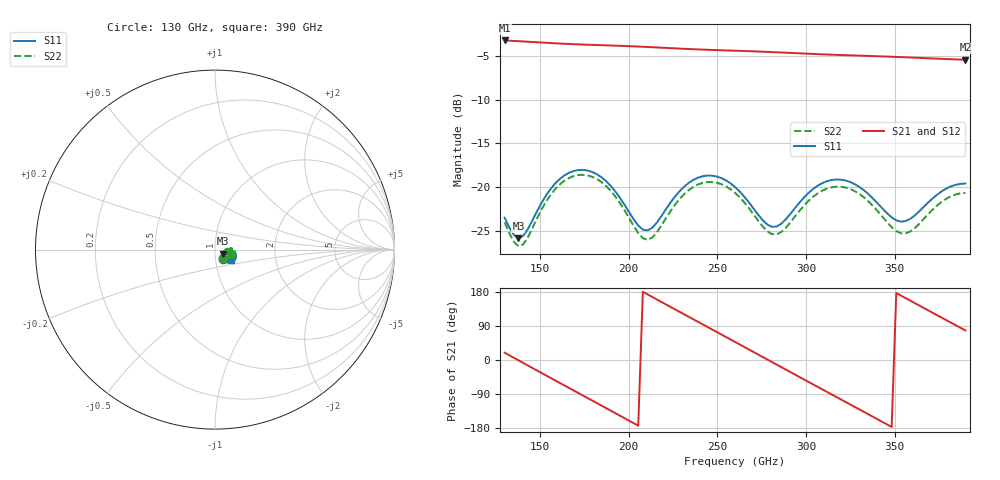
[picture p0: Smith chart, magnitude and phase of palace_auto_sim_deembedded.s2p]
! Created with skrf 1.11.0 (http://scikit-rf.org).
# GHz S DB R 50.0
!freq dBS11 angS11 dBS21 angS21 dBS12 angS12 dBS22 angS22
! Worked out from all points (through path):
!   101 points, 130 GHz to 390 GHz, reference 50 ohm
!   highest |S21| = -3.24 dB at 130 GHz (marker M1); lowest = -5.4 dB at 390 GHz (marker M2)
!   group delay of S21, straight-line fit = 7.06 ps
!   lowest |S11| = -25.9 dB at 137.8 GHz (marker M3), VSWR 1.11, Z = 54.7 - j2.5 ohm
!   |S11| at or under -10 dB: start of sweep to end of sweep
!   |S22| runs from -26.8 to -18.6 dB; largest |S21 - S12| = 1e-14
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130  -23.52 -49.2  -3.24 19.3  -3.24 19.3  -24.05 -46.5
137.8  -25.85 -26.5  -3.32 -0.8  -3.32 -0.8  -26.77 -22.9
148.2  -22.81 -0.5  -3.44 -27.5  -3.44 -27.5  -23.63 6.5
158.6  -19.59 -4.7  -3.56 -54.0  -3.56 -54.0  -20.23 2.9
174.2  -18.04 -25.6  -3.70 -93.7  -3.70 -93.7  -18.61 -17.8
184.6  -18.88 -39.8  -3.78 -120.2  -3.78 -120.2  -19.43 -32.0
197.6  -22.02 -48.3  -3.87 -153.4  -3.87 -153.4  -22.64 -41.1
208  -24.87 -32.8  -3.96 180.0  -3.96 180.0  -25.85 -25.5
218.4  -23.35 -9.5  -4.06 153.4  -4.06 153.4  -24.43 0.9
239.2  -18.93 -19.8  -4.26 100.5  -4.26 100.5  -19.71 -7.8
249.6  -18.80 -33.1  -4.34 74.2  -4.34 74.2  -19.51 -21.0
260  -20.00 -44.5  -4.41 47.8  -4.41 47.8  -20.67 -32.5
270.4  -22.45 -47.7  -4.48 21.3  -4.48 21.3  -23.11 -36.0
280.8  -24.55 -32.6  -4.57 -5.3  -4.57 -5.3  -25.39 -21.4
291.2  -23.09 -14.5  -4.66 -31.7  -4.66 -31.7  -24.06 -1.9
304.2  -20.21 -16.4  -4.78 -64.7  -4.78 -64.7  -21.10 -2.8
325  -19.43 -38.5  -4.94 -117.3  -4.94 -117.3  -20.23 -25.1
338  -21.35 -47.5  -5.03 -150.2  -5.03 -150.2  -22.20 -35.1
348.4  -23.48 -42.1  -5.10 -176.7  -5.10 -176.7  -24.60 -30.5
358.8  -23.66 -25.7  -5.19 156.9  -5.19 156.9  -25.11 -12.2
371.8  -21.26 -19.2  -5.30 124.0  -5.30 124.0  -22.54 -3.6
390  -19.61 -33.1  -5.45 78.0  -5.45 78.0  -20.69 -18.2
